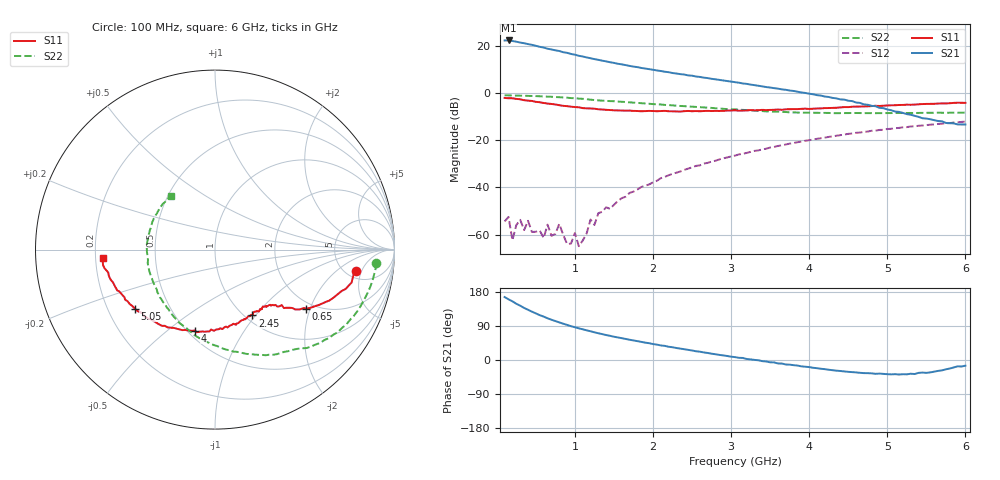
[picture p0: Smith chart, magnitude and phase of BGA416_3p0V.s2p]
!INFINEON TECHNOLOGIES Silicon Discrete Components
!BGA416
!Vcc=3.0 V
!Common Emitter S-Parameters:  5. October 2001
# Hz S DB R 50
!f  S11  S21  S12  S22
!Hz  Mag  Ang  Mag  Ang  Mag  Ang  Mag  Ang
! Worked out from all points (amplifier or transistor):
!   119 points, 100 MHz to 6 GHz, reference 50 ohm
!   highest |S21| = 22.4 dB at 150 MHz (marker M1)
!   |S21| within 3 dB of that: start of sweep to 597 MHz
!   unconditionally stable (mu >= 1): start of sweep to end of sweep
!   at 1.05 GHz: K = 42.82, MAG = 21.1 dB, |S12| = -64.9 dB
!   at 3.05 GHz: K = 3.79, MAG = 6.9 dB, |S12| = -26.5 dB
!   at 6 GHz: K = 4.92, MAG = -10.5 dB, |S12| = -12.0 dB
!   S11 on the Smith chart (normalised r, x): 100 MHz: 6.22, -3.97; 650 MHz: 1.81, -1.87; 2.45 GHz: 1.08, -0.96; 4 GHz: 0.54, -0.63; 5.05 GHz: 0.31, -0.30; 6 GHz: 0.23, -0.03
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1e8  -1.98 -8.4  22.41 166.1  -54.41 24.9  -0.89 -4.7
1.5e8  -2.11 -9.9  22.41 160.2  -52.50 -5.5  -0.91 -6.9
2e8  -2.13 -13.6  22.18 154.8  -62.37 47.3  -0.94 -9.0
2.5e8  -2.38 -16.8  21.90 148.4  -55.96 -31.4  -0.97 -11.0
3e8  -2.58 -18.0  21.52 143.3  -53.74 16.6  -1.01 -13.1
3.5e8  -2.95 -22.2  21.24 137.3  -58.05 17.0  -1.05 -15.1
4e8  -3.14 -24.1  20.87 132.5  -54.14 -9.3  -1.11 -17.3
5e8  -3.63 -27.8  20.15 123.0  -58.78 36.0  -1.21 -21.3
6e8  -4.12 -31.5  19.40 114.5  -61.40 17.1  -1.34 -25.4
6.5e8  -4.38 -32.9  18.91 110.0  -55.77 29.3  -1.43 -27.3
7e8  -4.54 -33.3  18.59 106.3  -60.50 23.4  -1.49 -29.8
8.5e8  -5.34 -37.0  17.42 95.8  -60.06 3.6  -1.80 -35.7
1.1e9  -6.30 -39.7  15.62 81.1  -62.54 -95.2  -2.36 -44.9
1.2e9  -6.45 -41.7  14.87 75.8  -53.60 -95.9  -2.72 -48.8
1.5e9  -7.23 -45.0  12.89 61.4  -47.35 -131.5  -3.38 -59.2
2.1e9  -7.55 -53.7  9.45 38.4  -36.05 -156.9  -4.77 -79.8
2.45e9  -7.50 -60.5  7.58 26.8  -31.99 -168.3  -5.59 -92.4
3.05e9  -7.23 -74.4  4.71 7.7  -26.46 175.1  -6.85 -115.7
4e9  -6.66 -103.9  -0.19 -18.7  -19.93 148.7  -8.26 -157.7
4.05e9  -6.56 -105.8  -0.43 -20.5  -19.59 147.2  -8.28 -160.0
5.05e9  -5.11 -143.8  -7.20 -37.9  -15.07 118.1  -8.41 158.1
6e9  -4.08 -175.8  -13.26 -14.9  -12.04 92.0  -8.23 129.4
